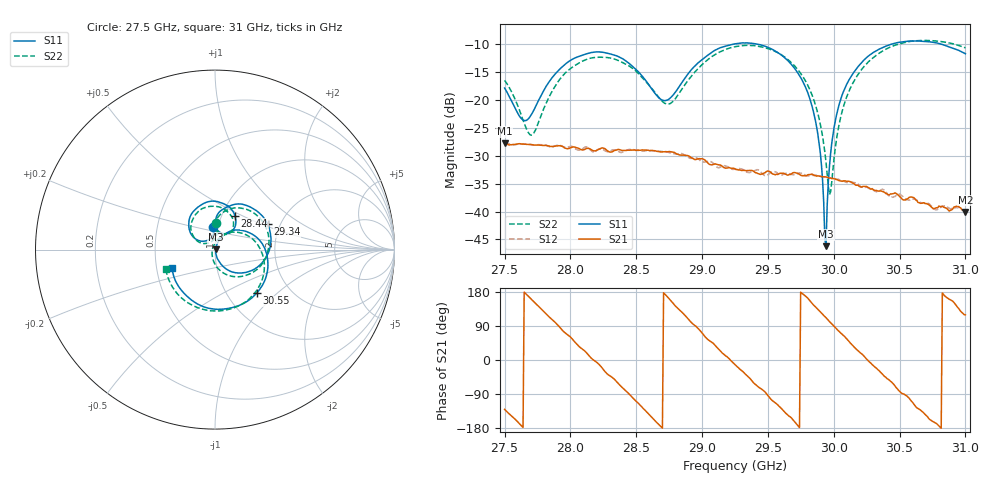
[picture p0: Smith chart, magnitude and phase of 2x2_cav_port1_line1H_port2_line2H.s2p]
!Created with skrf (http://scikit-rf.org).
# GHz S RI R 50.0
!freq ReS11 ImS11 ReS21 ImS21 ReS12 ImS12 ReS22 ImS22
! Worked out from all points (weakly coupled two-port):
!   401 points, 27.5 GHz to 31 GHz, reference 50 ohm
!   highest |S21| = -27.72 dB at 27.5 GHz (marker M1); lowest = -40.1 dB at 31 GHz (marker M2)
!   lowest |S11| = -46.2 dB at 29.94 GHz (marker M3), VSWR 1.01, Z = 50.4 + j0.262 ohm
!   |S11| at or under -10 dB: start of sweep to 29.23 GHz; 29.43 GHz to 30.44 GHz (1.008 GHz wide, 3.37 % of centre); 30.82 GHz to end of sweep
!   |S22| runs from -37.0 to -9.3 dB; largest |S21 - S12| = 0.002
!   S11 on the Smith chart (normalised r, x): 27.5 GHz: 0.95, +0.25; 28.44 GHz: 1.16, +0.45; 29.34 GHz: 1.72, +0.54; 30.55 GHz: 1.36, -0.75; 31 GHz: 0.60, -0.13
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27.5  -0.00998 0.1278  -0.0266 -0.0313  -0.0259 -0.0318  0.0034 0.1504
27.70125  -0.0563 0.0475  -0.0377 0.0132  -0.0377 0.013  -0.0227 0.0428
27.9025  -0.1431 0.1108  -0.00172 0.0387  -0.00192 0.0394  -0.1222 0.0767
28.08625  -0.1035 0.2295  0.0311 0.0178  0.0309 0.019  -0.1103 0.1929
28.43625  0.1112 0.1869  0.00213 -0.0354  0.00278 -0.0357  0.0934 0.183
28.6725  0.0575 0.0873  -0.0341 -0.00547  -0.0342 -0.00581  0.0623 0.0846
28.76875  0.0163 0.106  -0.0308 0.0151  -0.0298 0.0145  0.0206 0.0928
28.935  0.0144 0.1961  -0.00195 0.0296  -0.00273 0.0301  0.0108 0.1726
29.25  0.2429 0.2075  0.0236 -0.00521  0.0235 -0.00445  0.2313 0.1928
29.3375  0.2936 0.1412  0.0178 -0.015  0.017 -0.015  0.2826 0.1265
29.6525  0.1891 -0.1221  -0.0175 -0.012  -0.0182 -0.0123  0.1834 -0.1397
29.83625  0.0329 -0.0807  -0.0187 0.0111  -0.0183 0.0107  0.0202 -0.1084
29.88875  0.0095 -0.0399  -0.0134 0.0159  -0.0134 0.0161  -0.00642 -0.068
29.92375  0.00361 -0.0116  -0.00946 0.0181  -0.00952 0.018  -0.0152 -0.0375
29.94125  0.00415 0.0026  -0.0075 0.019  -0.00741 0.0189  -0.0164 -0.0224
29.97625  0.0118 0.031  -0.00297 0.0198  -0.00299 0.0197  -0.0126 0.00828
30.0725  0.0695 0.0956  0.00801 0.0171  0.00836 0.0168  0.0396 0.0767
30.2125  0.1977 0.0907  0.0159 0.00467  0.0161 0.00429  0.1688 0.0844
30.4225  0.2937 -0.1069  0.00844 -0.0113  0.00761 -0.0115  0.275 -0.1111
30.545  0.2312 -0.2436  -0.00065 -0.0127  -0.00136 -0.0129  0.214 -0.2504
30.76375  -0.0351 -0.327  -0.0103 -0.00285  -0.0102 -0.00251  -0.0589 -0.3347
31  -0.2387 -0.1034  -0.00481 0.00866  -0.00496 0.00875  -0.2745 -0.1058
